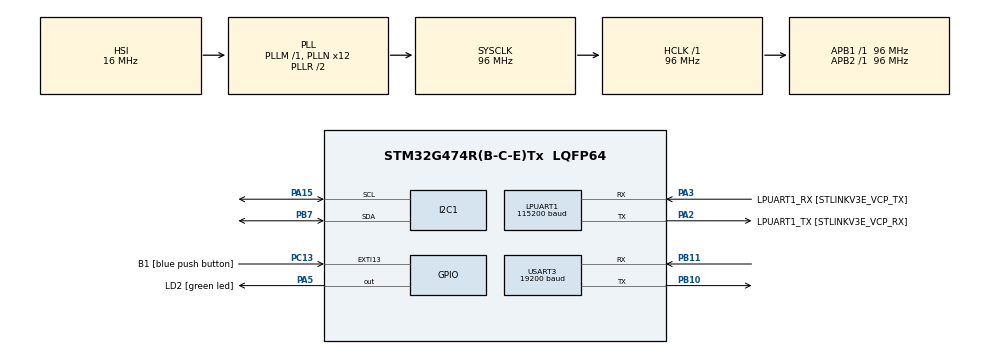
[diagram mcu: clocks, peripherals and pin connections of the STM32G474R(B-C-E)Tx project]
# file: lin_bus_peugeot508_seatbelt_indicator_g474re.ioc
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I2C1.Timing=0x20B17DB6
LPUART1.BaudRate=115200
LPUART1.WordLength=UART_WORDLENGTH_8B
Mcu.Family=STM32G4
Mcu.Name=STM32G474R(B-C-E)Tx
Mcu.Package=LQFP64
NVIC.EXTI15_10_IRQn=true\:0\:0\:false\:false\:true\:true\:true\:true
NVIC.PriorityGroup=NVIC_PRIORITYGROUP_4
NVIC.RNG_IRQn=true\:0\:0\:false\:false\:true\:true\:true\:true
PA13.GPIO_Label=T_SWDIO
PA13.Mode=Serial_Wire
PA13.Signal=SYS_JTMS-SWDIO
PA14.GPIO_Label=T_SWCLK
PA14.Mode=Serial_Wire
PA14.Signal=SYS_JTCK-SWCLK
PA15.Mode=I2C
PA15.Signal=I2C1_SCL
PA2.GPIO_Label=LPUART1_TX [STLINKV3E_VCP_RX]
PA2.Mode=Asynchronous
PA2.Signal=LPUART1_TX
PA3.GPIO_Label=LPUART1_RX [STLINKV3E_VCP_TX]
PA3.Mode=Asynchronous
PA3.Signal=LPUART1_RX
PA5.GPIO_Label=LD2 [green led]
PA5.Signal=GPIO_Output
PB10.GPIO_PuPd=GPIO_PULLUP
PB10.Mode=LIN
PB10.Signal=USART3_TX
PB11.GPIO_PuPd=GPIO_PULLUP
PB11.Mode=LIN
PB11.Signal=USART3_RX
PB3.GPIO_Label=T_SWO
PB3.Signal=SYS_JTDO-SWO
PB7.Mode=I2C
PB7.Signal=I2C1_SDA
PC13.GPIO_Label=B1 [blue push button]
PC13.Signal=GPXTI13
PC14-OSC32_IN.Mode=LSE-External-Oscillator
PC14-OSC32_IN.Signal=RCC_OSC32_IN
PC15-OSC32_OUT.Mode=LSE-External-Oscillator
PC15-OSC32_OUT.Signal=RCC_OSC32_OUT
PF0-OSC_IN.Mode=HSE-External-Oscillator
PF0-OSC_IN.Signal=RCC_OSC_IN
PF1-OSC_OUT.Mode=HSE-External-Oscillator
PF1-OSC_OUT.Signal=RCC_OSC_OUT
ProjectManager.HeapSize=0x200
ProjectManager.StackSize=0x400
ProjectManager.TargetToolchain=STM32CubeIDE
RCC.ADC12Freq_Value=96000000
RCC.ADC345Freq_Value=96000000
RCC.AHBFreq_Value=96000000
RCC.APB1Freq_Value=96000000
RCC.APB1TimFreq_Value=96000000
RCC.APB2Freq_Value=96000000
RCC.APB2TimFreq_Value=96000000
RCC.CortexFreq_Value=96000000
RCC.EXTERNAL_CLOCK_VALUE=12288000
RCC.HCLKFreq_Value=96000000
RCC.HSE_VALUE=24000000
RCC.HSI48_VALUE=48000000
RCC.HSI_VALUE=16000000
RCC.PLLN=12
RCC.PLLQ=RCC_PLLQ_DIV4
RCC.RTCClockSelection=RCC_RTCCLKSOURCE_LSE
RCC.SYSCLKFreq_VALUE=96000000
RCC.SYSCLKSource=RCC_SYSCLKSOURCE_PLLCLK
RCC.USBFreq_Value=48000000
RCC.VCOOutputFreq_Value=192000000
USART3.BaudRate=19200
USART3.VirtualMode-LIN=VM_LIN
VP_RNG_VS_RNG.Mode=RNG_Activate
VP_SYS_VS_DBSignals.Mode=DisableDeadBatterySignals
board=NUCLEO-G474RE

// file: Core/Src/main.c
/* USER CODE BEGIN Header */
/**
 ******************************************************************************
 * @file           : main.c
 * @brief          : Main program body
 ******************************************************************************
 * @attention
 *
 * Copyright (c) 2024 STMicroelectronics.
 * All rights reserved.
 *
 * This software is licensed under terms that can be found in the LICENSE file
 * in the root directory of this software component.
 * If no LICENSE file comes with this software, it is provided AS-IS.
 *
 ******************************************************************************
 */
/* USER CODE END Header */
#include "main.h"
#include "i2c.h"
#include "usart.h"
#include "rng.h"
#include "gpio.h"

/* USER CODE BEGIN Includes */
#include <string.h>
#include "ssd1306.h"
/* USER CODE END Includes */

/* USER CODE BEGIN PD */

// ------------------------------ choose your hardware here (BEGIN) ------------
#define LIN_V1_x // Peugeot 207
//#define LIN_V2_x // Peugeot 508
// ------------------------------ choose your hardware here (END) --------------

#define FRONT_LEFT_SEATBELT_WARNING 1
#define FRONT_LEFT_SEATBELT_BLINKING 0
#define FRONT_RIGHT_SEATBELT_WARNING 0
#define FRONT_RIGHT_SEATBELT_BLINKING 0

#define REAR_LEFT_SEATBELT_WARNING 1
#define REAR_LEFT_SEATBELT_BLINKING 0
#define REAR_MIDDLE_SEATBELT_WARNING 0
#define REAR_MIDDLE_SEATBELT_BLINKING 0
#define REAR_RIGHT_SEATBELT_WARNING 1
#define REAR_RIGHT_SEATBELT_BLINKING 0

#define PASSENGER_AIRBAG_ON 0
#define PASSENGER_AIRBAG_OFF 1

#define RANDOMIZE_INDICATOR
#define RANDOM_CHANGE_PERIOD 3000

/* USER CODE END PD */

/* USER CODE BEGIN PV */
uint8_t txData[20];
uint32_t rng_number;
volatile uint8_t rng_number_flag = 0;
uint32_t RngSoftTimer;
/* USER CODE END PV */

void SystemClock_Config(void);
/* USER CODE BEGIN PFP */
uint8_t ProtectedIdCalc(uint8_t msg_id);
uint8_t LinChecksumCalc(uint8_t pid, uint8_t *data, uint8_t size);
/* USER CODE END PFP */

int main(void)
{

	/* MCU Configuration--------------------------------------------------------*/

	/* Reset of all peripherals, Initializes the Flash interface and the Systick. */
	HAL_Init();

	/* Configure the system clock */
	SystemClock_Config();

	/* Initialize all configured peripherals */
	MX_GPIO_Init();
	MX_LPUART1_UART_Init();
	MX_USART3_UART_Init();
	MX_I2C1_Init();
	MX_RNG_Init();
	/* USER CODE BEGIN 2 */
	ssd1306_Init();
	ssd1306_Fill(Black);
	ssd1306_SetCursor(20, 2);
	ssd1306_WriteString("ufnalski.edu.pl", Font_6x8, White);
	ssd1306_SetCursor(18, 12);
	ssd1306_WriteString("LIN 1.0 bus demo", Font_6x8, White);
	ssd1306_SetCursor(28, 22);
	ssd1306_WriteString("Peugeot 207", Font_6x8, White);
	ssd1306_SetCursor(18, 32);
	ssd1306_WriteString("LIN 2.0 bus demo", Font_6x8, White);
	ssd1306_SetCursor(28, 42);
	ssd1306_WriteString("Peugeot 508", Font_6x8, White);
	ssd1306_SetCursor(15, 52);
	ssd1306_WriteString("seatbelt indicator", Font_6x8, White);
	ssd1306_UpdateScreen();

	HAL_RNG_GenerateRandomNumber_IT(&hrng);
	RngSoftTimer = HAL_GetTick();
	/* USER CODE END 2 */

	/* Infinite loop */
	/* USER CODE BEGIN WHILE */
	while (1)
	{

#ifdef RANDOMIZE_INDICATOR
		if ((rng_number_flag == 1)
				&& (HAL_GetTick() - RngSoftTimer > RANDOM_CHANGE_PERIOD))
		{
			RngSoftTimer = HAL_GetTick();
			rng_number_flag = 0;
			rng_number = HAL_RNG_ReadLastRandomNumber(&hrng);
			HAL_RNG_GenerateRandomNumber_IT(&hrng);
		}
#endif

		txData[0] = 0x55;  // sync field
		txData[1] = ProtectedIdCalc(0x30);

		if (HAL_GPIO_ReadPin(B1_GPIO_Port, B1_Pin) == GPIO_PIN_RESET)
		{
			txData[2] = ((FRONT_LEFT_SEATBELT_WARNING << 0)
					| (FRONT_LEFT_SEATBELT_BLINKING << 1)
					| (FRONT_RIGHT_SEATBELT_WARNING << 2)
					| (FRONT_RIGHT_SEATBELT_BLINKING << 3)
					| (REAR_LEFT_SEATBELT_WARNING << 4)
					| (REAR_LEFT_SEATBELT_BLINKING << 5)
					| (REAR_MIDDLE_SEATBELT_WARNING << 6)
					| (REAR_MIDDLE_SEATBELT_BLINKING << 7)) ^ (rng_number); // data byte 0
			txData[3] = ((REAR_RIGHT_SEATBELT_WARNING << 0)
					| (REAR_RIGHT_SEATBELT_BLINKING << 1)
					| (PASSENGER_AIRBAG_OFF << 6)) ^ (rng_number >> 8);
			txData[4] = 0xAA;
			txData[5] = 0xAA;
			txData[6] = 0xAA;
			txData[7] = 0xAA;
			txData[8] = 0xAA;
			txData[9] = (PASSENGER_AIRBAG_ON << 0) ^ (rng_number >> 16); // data byte 7
		}
		else
		{
			memset(txData + 2, 0x00, 8);
		}

#ifdef LIN_V1_x
	  			txData[10] = LinChecksumCalc(0 /* no PID included */, txData + 2, 8); //Lin 1.x checksum does not include PID
	  	#endif
#ifdef LIN_V2_x
		txData[10] = LinChecksumCalc(txData[1], TxData + 2, 8); //Lin 2.x checksum includes PID
#endif

		HAL_LIN_SendBreak(&huart3);
		HAL_UART_Transmit(&huart3, txData, 11, 500);

		HAL_Delay(500);
		HAL_GPIO_TogglePin(LD2_GPIO_Port, LD2_Pin);
		/* USER CODE END WHILE */

	}
}

void SystemClock_Config(void)
{
	RCC_OscInitTypeDef RCC_OscInitStruct =
	{ 0 };
	RCC_ClkInitTypeDef RCC_ClkInitStruct =
	{ 0 };

	/** Configure the main internal regulator output voltage
	 */
	HAL_PWREx_ControlVoltageScaling(PWR_REGULATOR_VOLTAGE_SCALE1);

	/** Initializes the RCC Oscillators according to the specified parameters
	 * in the RCC_OscInitTypeDef structure.
	 */
	RCC_OscInitStruct.OscillatorType = RCC_OSCILLATORTYPE_HSI;
	RCC_OscInitStruct.HSIState = RCC_HSI_ON;
	RCC_OscInitStruct.HSICalibrationValue = RCC_HSICALIBRATION_DEFAULT;
	RCC_OscInitStruct.PLL.PLLState = RCC_PLL_ON;
	RCC_OscInitStruct.PLL.PLLSource = RCC_PLLSOURCE_HSI;
	RCC_OscInitStruct.PLL.PLLM = RCC_PLLM_DIV1;
	RCC_OscInitStruct.PLL.PLLN = 12;
	RCC_OscInitStruct.PLL.PLLP = RCC_PLLP_DIV2;
	RCC_OscInitStruct.PLL.PLLQ = RCC_PLLQ_DIV4;
	RCC_OscInitStruct.PLL.PLLR = RCC_PLLR_DIV2;
	if (HAL_RCC_OscConfig(&RCC_OscInitStruct) != HAL_OK)
	{
		Error_Handler();
	}

	/** Initializes the CPU, AHB and APB buses clocks
	 */
	RCC_ClkInitStruct.ClockType = RCC_CLOCKTYPE_HCLK | RCC_CLOCKTYPE_SYSCLK
			| RCC_CLOCKTYPE_PCLK1 | RCC_CLOCKTYPE_PCLK2;
	RCC_ClkInitStruct.SYSCLKSource = RCC_SYSCLKSOURCE_PLLCLK;
	RCC_ClkInitStruct.AHBCLKDivider = RCC_SYSCLK_DIV1;
	RCC_ClkInitStruct.APB1CLKDivider = RCC_HCLK_DIV1;
	RCC_ClkInitStruct.APB2CLKDivider = RCC_HCLK_DIV1;

	if (HAL_RCC_ClockConfig(&RCC_ClkInitStruct, FLASH_LATENCY_3) != HAL_OK)
	{
		Error_Handler();
	}
}

/* USER CODE BEGIN 4 */
void HAL_RNG_ReadyDataCallback(RNG_HandleTypeDef *hrng, uint32_t random32bit)
{
	rng_number_flag = 1;
}

// https://controllerstech.com/stm32-uart-8-lin-protocol-part-1/
uint8_t ProtectedIdCalc(uint8_t msg_id)
{
	if (msg_id > 0x3F)
		Error_Handler();
	uint8_t IDBuf[6];
	for (int i = 0; i < 6; i++)
	{
		IDBuf[i] = (msg_id >> i) & 0x01;
	}

	uint8_t P0 = (IDBuf[0] ^ IDBuf[1] ^ IDBuf[2] ^ IDBuf[4]) & 0x01;
	uint8_t P1 = ~((IDBuf[1] ^ IDBuf[3] ^ IDBuf[4] ^ IDBuf[5]) & 0x01);

	msg_id = msg_id | (P0 << 6) | (P1 << 7);
	return msg_id;
}

// https://controllerstech.com/stm32-uart-8-lin-protocol-part-1/
uint8_t LinChecksumCalc(uint8_t pid, uint8_t *data, uint8_t size)
{
	uint8_t buffer[size + 2];
	uint16_t sum = 0;
	buffer[0] = pid;
	for (int i = 0; i < size; i++)
	{
		buffer[i + 1] = data[i];
	}

	for (int i = 0; i < size + 1; i++)
	{
		sum = sum + buffer[i];
		if (sum > 0xFF)
			sum = sum - 0xFF;
	}

	sum = 0xFF - sum;
	return sum;
}
/* USER CODE END 4 */

void Error_Handler(void)
{
	__disable_irq();
	while (1)
	{
	}
}
